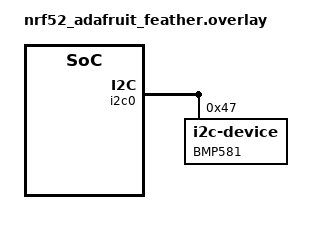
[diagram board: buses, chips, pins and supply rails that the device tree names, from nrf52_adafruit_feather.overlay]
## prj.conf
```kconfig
#
# Copyright (c) 2016 Intel Corporation
#
# SPDX-License-Identifier: Apache-2.0
#

# To have 1000 ticks per second -> 1ms timer resolution
CONFIG_SYS_CLOCK_TICKS_PER_SEC=1000

CONFIG_NRFX_TWIM1=y
CONFIG_USE_SEGGER_RTT=y
CONFIG_I2C=y
CONFIG_LOG=y

# Floating Point Unit
CONFIG_FPU=y

#Higher resolution timestamp
CONFIG_LOG_TIMESTAMP_64BIT=y

#Enable Timing functions
CONFIG_TIMING_FUNCTIONS=y        

# Bluetooth LE
CONFIG_BT=y
CONFIG_BT_PERIPHERAL=y
CONFIG_BT_DEVICE_NAME="BMP581_SENSOR"
CONFIG_BT_GATT_CLIENT=y
# important for applications that modify the GATT database at runtime
CONFIG_BT_GATT_DYNAMIC_DB=y

CONFIG_BT_SMP=y
CONFIG_BT_GATT_DM=y

# Enable CTS client
CONFIG_BT_CTS_CLIENT=y


# Configure your preferred connection parameters
# Set the minimum and maximum connection intervals in units of 1.25 ms
# 7.5ms - Absolute minimum CI value in BLE standard 
CONFIG_BT_PERIPHERAL_PREF_MIN_INT=6     
# 20ms - Can change after negociation with the client
CONFIG_BT_PERIPHERAL_PREF_MAX_INT=10   
# Set the connection supervision timeout in units of 10 ms Here: 400ms
CONFIG_BT_PERIPHERAL_PREF_TIMEOUT=40
CONFIG_BT_GAP_AUTO_UPDATE_CONN_PARAMS=y

# Update Data Length and MTU
CONFIG_BT_USER_DATA_LEN_UPDATE=y
CONFIG_BT_CTLR_DATA_LENGTH_MAX=251
CONFIG_BT_BUF_ACL_RX_SIZE=251
CONFIG_BT_BUF_ACL_TX_SIZE=251
CONFIG_BT_L2CAP_TX_MTU=247

# Enable PHY updates.
CONFIG_BT_USER_PHY_UPDATE=y

# Increase stack size for the main thread and System Workqueue
CONFIG_SYSTEM_WORKQUEUE_STACK_SIZE=2048
CONFIG_MAIN_STACK_SIZE=2048
CONFIG_BT_RX_STACK_SIZE=2048

# Fix for undefined ref to k_alloc
CONFIG_HEAP_MEM_POOL_SIZE=256 

# Config params for nvs
CONFIG_FLASH=y
CONFIG_NVS=y
CONFIG_REBOOT=y
CONFIG_MPU_ALLOW_FLASH_WRITE=y
```

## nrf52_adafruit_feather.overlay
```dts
// To get started, press Ctrl+Space to bring up the completion menu and view the available nodes.

// You can also use the buttons in the sidebar to perform actions on nodes.
// Actions currently available include:

// * Enabling / disabling the node
// * Adding the bus to a bus
// * Removing the node
// * Connecting ADC channels

// For more help, browse the DeviceTree documentation at https: //docs.zephyrproject.org/latest/guides/dts/index.html
// You can also visit the nRF DeviceTree extension documentation at https: //nrfconnect.github.io/vscode-nrf-connect/devicetree/nrfdevicetree.html


&i2c0 {
  status = "okay";
  bmp581: bmp581@47 {
    compatible = "i2c-device";
    reg = <0x47>;
    label = "BMP581";
  };
};
```

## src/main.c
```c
/*
 * Copyright (c) 2016 Intel Corporation
 *
 * SPDX-License-Identifier: Apache-2.0
 */

/*INCLUDES*/
#include "main.h"
#include "bmp5.h"
#include "bt-periph.h"

#define DEVICE_ID 3
#define SAMPLING_INTERVAL_MS 20
/* Declare the LED devices*/
#define LED_RED_NODE \
  DT_ALIAS(led0) // LED_RED_NODE = led0 defined in the .dts file


static const struct gpio_dt_spec led_red =
    GPIO_DT_SPEC_GET(LED_RED_NODE, gpios);

/* Sensor Data variables*/
struct bmp5_sensor_data sensor_data;
uint32_t pressure_data = 0;

/* BMP5 device variables*/
struct bmp5_dev dev;
struct bmp5_osr_odr_press_config osr_odr_press_cfg = {0};

int8_t bmp5_rslt;
int ret_led;

void new_packet();

/* Work queue callback for sample processing*/
static void sample_work_cb(struct k_work *work) {
  /*Get sensor data from the BMP581*/
  bmp5_rslt = get_sensor_data(&osr_odr_press_cfg, &dev);

  /* Make a new char array packet*/
  new_packet();

  /* Send the packet to the characteristic*/
  // printk("%s\n",frame_payload);
  sensor_notify(frame_payload);
}

K_WORK_DEFINE(sample_work, sample_work_cb);

/* Define timer_cb and timer*/
volatile uint64_t current_time_ms;

static void cts_timer_cb(struct k_timer *dummy) {
  current_time_ms++;
}
static void sample_timer_cb(struct k_timer *dummy) {
  k_work_submit(&sample_work);
}

K_TIMER_DEFINE(cts_timer, cts_timer_cb, NULL);
K_TIMER_DEFINE(sample_timer, sample_timer_cb, NULL);

#define _APP_TIMER_DEF (timer_id)

char frame_ts[10];
char frame_sensor[8];
static char frame_payload[SIZE_PAYLOAD];

void new_packet() {
  /* Frame : ID,XXXXXXXX,XXXXXX */
  sprintf(frame_payload, "%1d,%08lu,%06lu\n", DEVICE_ID,
          (unsigned long)current_time_ms, (unsigned long)sensor_data.pressure);

}

int main(void) {
  /* Initialize and check LED devices*/
  if (!gpio_is_ready_dt(&led_red)) {
    return 0;
  }

  ret_led = gpio_pin_configure_dt(&led_red, GPIO_OUTPUT_INACTIVE);
  if (ret_led < 0) {
    return 0;
  }

  bmp5_rslt = bmp5_interface_init(&dev, BMP5_I2C_INTF);
  if (bmp5_rslt == BMP5_OK) {
    bmp5_soft_reset(&dev);

    bmp5_rslt = bmp5_init(&dev);

    if (bmp5_rslt == BMP5_OK) {
      bmp5_rslt = set_config(&osr_odr_press_cfg, &dev);
    }
  }

  /* Initial sensor values*/
  get_sensor_data(&osr_odr_press_cfg, &dev);

  gpio_pin_set_dt(&led_red, 1);

  /* Start BLE stack and setup/run GATT Server*/
  bluetooth_advertiser_init();

  /*Start timers for Timestamping (1ms) and sample collection (SAMPLING_INTERVAL_MS) */
  k_timer_start(&cts_timer, K_MSEC(1), K_MSEC(1));
  k_timer_start(&sample_timer, K_MSEC(SAMPLING_INTERVAL_MS), K_MSEC(SAMPLING_INTERVAL_MS));

  while (1) {
    k_usleep(1);
      }

  return 0;
}

int8_t
get_sensor_data(const struct bmp5_osr_odr_press_config *osr_odr_press_cfg,
                struct bmp5_dev *dev) {
  int8_t rslt = 0;
  uint8_t int_status = 0x1;

  if (int_status & BMP5_INT_ASSERTED_DRDY) {
    /* pressure: sensor_data.pressure -- temperature: sensor_data.temperature */
    rslt = bmp5_get_sensor_data(&sensor_data, osr_odr_press_cfg, dev);
  }

  return rslt;
}
```

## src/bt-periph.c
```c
#include "bt-periph.h"
#include "main.h"

#include <time.h>

#define LED_BLUE_NODE                                                          \
  DT_ALIAS(led1) // LED_RED_NODE = led0 defined in the .dts file

/*Prototype for BLE connection callbacks*/
static void on_connected(struct bt_conn *conn, uint8_t err);
static void on_disconnected(struct bt_conn *conn, uint8_t reason);
void on_le_param_updated(struct bt_conn *conn, uint16_t interval,
                         uint16_t latency, uint16_t timeout);
void on_le_phy_updated(struct bt_conn *conn, struct bt_conn_le_phy_info *param);

/* CTS Callaback*/
static void read_current_time_cb(struct bt_cts_client *cts_c,
                                 struct bt_cts_current_time *current_time,
                                 int err);

/* Declare CTS variables*/
static struct bt_cts_client cts_c;
static bool has_cts;
struct timespec cts_timestamp;
extern volatile uint64_t current_time_ms;
static int cts_retries = 0;

/* LED config*/
static const struct gpio_dt_spec led_blue =
    GPIO_DT_SPEC_GET(LED_BLUE_NODE, gpios);

static bool notify_mysensor_enabled;

#define DEVICE_NAME "DEV003"
#define DEVICE_NAME_LEN 6

/* Variable that holds callback for MTU negotiation */
static struct bt_gatt_exchange_params exchange_params;

/* Forward declaration of exchange_func(): */
static void exchange_func(struct bt_conn *conn, uint8_t att_err,
                          struct bt_gatt_exchange_params *params);

/*BLE Connection struct*/
struct bt_conn *my_conn = NULL;

/* ## GATT Server ## */
/* Define the configuration change callback function for the MYSENSOR
 * characteristic */
static void mylbs_ccc_mysensor_cfg_changed(const struct bt_gatt_attr *attr,
                                           uint16_t value) {
  notify_mysensor_enabled = (value == BT_GATT_CCC_NOTIFY);
}

/* GATT characteristic and service Declaration */
/* Notification handler*/
static ssize_t read_char(struct bt_conn *conn, const struct bt_gatt_attr *attr,
                         void *buf, uint16_t len, uint16_t offset) {
  const char *value = attr->user_data;

  return bt_gatt_attr_read(conn, attr, buf, len, offset, value, strlen(value));
}

/* GATT Service Declaration */
BT_GATT_SERVICE_DEFINE(
    my_lbs_svc, BT_GATT_PRIMARY_SERVICE(BT_UUID_MY_SERVICE),
    /* Create and add the MYSENSOR characteristic and its CCCD  */
    /* Characteristic Declaration */
    BT_GATT_CHARACTERISTIC(BT_UUID_MY_SERVICE_SENSOR, BT_GATT_CHRC_NOTIFY,
                           BT_GATT_PERM_READ, read_char, NULL, frame_payload),
    BT_GATT_CCC(mylbs_ccc_mysensor_cfg_changed,
                BT_GATT_PERM_READ | BT_GATT_PERM_WRITE), );

/* Create an LE Advertising Parameters variable */
static struct bt_le_adv_param *adv_param =
    BT_LE_ADV_PARAM((BT_LE_ADV_OPT_CONNECTABLE |
                     BT_LE_ADV_OPT_USE_IDENTITY), /* Connectable advertising and
                                                     use identity address */
                    BT_GAP_ADV_FAST_INT_MIN_1, /* 0x30 units, 48 units, 30ms */
                    BT_GAP_ADV_FAST_INT_MAX_1, /* 0x60 units, 96 units, 60ms */
                    NULL); /* Set to NULL for undirected advertising */

/* Declare the advertising packet */
static volatile uint8_t mfg_data[] = {0x00, 0x00, 0xaa, 0xbb};

static const struct bt_data ad[] = {
    BT_DATA_BYTES(BT_DATA_FLAGS, BT_LE_AD_NO_BREDR),
    BT_DATA_BYTES(BT_DATA_UUID16_ALL, 0xaa, 0xfe),
    BT_DATA_BYTES(BT_DATA_SVC_DATA16, 0xaa, 0xfe, /* Eddystone UUID*/
                  'D', 'E', 'V', '0', '0', '1')   /* DEVxxx */
};

/* Declare the scan response packet - Set Scan Response data */
static const struct bt_data sd[] = {
    BT_DATA(BT_DATA_NAME_COMPLETE, DEVICE_NAME, DEVICE_NAME_LEN),
};

/* Function to update the connection's PHY */
static void update_phy(struct bt_conn *conn) {
  int err;
  const struct bt_conn_le_phy_param preferred_phy = {
      .options = BT_CONN_LE_PHY_OPT_NONE,
      .pref_rx_phy = BT_GAP_LE_PHY_2M,
      .pref_tx_phy = BT_GAP_LE_PHY_2M,
  };
  err = bt_conn_le_phy_update(conn, &preferred_phy);
  if (err) {
    printk("bt_conn_le_phy_update() returned %d\r\n", err);
  }
}

/* Function to update the connection's data length */
static void update_data_length(struct bt_conn *conn) {
  int err;
  struct bt_conn_le_data_len_param my_data_len = {
      .tx_max_len = BT_GAP_DATA_LEN_MAX,
      .tx_max_time = BT_GAP_DATA_TIME_MAX,
  };
  err = bt_conn_le_data_len_update(my_conn, &my_data_len);
  if (err) {
    printk("data_len_update failed (err %d)\r\n", err);
  }
}

/* Function to update the connection's MTU */
static void update_mtu(struct bt_conn *conn) {
  int err;
  exchange_params.func = exchange_func;

  err = bt_gatt_exchange_mtu(conn, &exchange_params);
  if (err) {
    printk("bt_gatt_exchange_mtu failed (err %d)\r\n", err);
  }
}

/* Subscribe to CTS notification*/
static void enable_notifications(void) {
  int err = 0;
  // printk("enable_notifications\n");
  k_usleep(1);

  err = bt_cts_read_current_time(&cts_c, read_current_time_cb);
  if (err) {
    printk("Failed reading current time (err: %d)\n", err);
  }
}

/* Discovery CBs*/
static void discover_completed_cb(struct bt_gatt_dm *dm, void *ctx) {
  int err;

  printk("The discovery procedure succeeded\n");

  cts_retries = 0;

  err = bt_cts_handles_assign(dm, &cts_c);
  if (err) {
    printk("Could not assign CTS client handles, error: %d\n", err);
  } else {
    k_usleep(1);
    has_cts = true;
    enable_notifications();
  }
}

static void discover_service_not_found_cb(struct bt_conn *conn, void *ctx) {
  printk("The service could not be found during the discovery\n \
          Think to activate the GATT CTS Server on the nRF Connect App\n");
}

static void discover_error_found_cb(struct bt_conn *conn, int err, void *ctx) {
  printk("The discovery procedure failed, err %d\n", err);
  cts_retries++;
  if (cts_retries < 5) {
    k_usleep(1);
    discover_gatt_cts();
  } else {
    printk("The discovery procedure failed 5 times. Exiting\n");
  }
}

/* Discovery CBs struct*/
static const struct bt_gatt_dm_cb discover_cb = {
    .completed = discover_completed_cb,
    .service_not_found = discover_service_not_found_cb,
    .error_found = discover_error_found_cb,
};

/* Print current Time and store it*/
void current_time_store(struct bt_cts_current_time *current_time) {
  current_time_ms =
      current_time->exact_time_256.hours * 36 * 100000 + // Hours to ms
      current_time->exact_time_256.minutes * 6 * 10000 + // Minutes to ms
      current_time->exact_time_256.seconds * 1000 +      // Seconds to ms
      (((current_time->exact_time_256.fractions256) * 1000) /
       256); // Fraction_256 to ms

  printk("Current time in ms: %llu stored.\n", current_time_ms);
}

/* Read and print Current Time*/
static void read_current_time_cb(struct bt_cts_client *cts_c,
                                 struct bt_cts_current_time *current_time,
                                 int err) {
  char addr[BT_ADDR_LE_STR_LEN];

  bt_addr_le_to_str(bt_conn_get_dst(cts_c->conn), addr, sizeof(addr));

  if (err) {
    printk("Cannot read Current Time: %s, error: %d\n", addr, err);
    return;
  }

  current_time_store(current_time);
}

/* Implement the on connected callback function*/
void on_connected(struct bt_conn *conn, uint8_t err) {
  if (err) {
    printk("Connection error %d\n\r", err);
    return;
  }
  printk("Connected\n\r");

  /* Increase the connection counter*/
  my_conn = bt_conn_ref(conn);

  /* A structure to store the connection parameters */
  struct bt_conn_info info;
  err = bt_conn_get_info(conn, &info);
  if (err) {
    printk("bt_conn_get_info() returned %d\n\r", err);
    return;
  }

  /* Add the connection parameters to your log */
  double connection_interval = info.le.interval * 1.25; // in ms
  uint16_t supervision_timeout = info.le.timeout * 10;  // in ms
  printk("Connection parameters: interval %.2f ms, latency %d intervals, "
         "timeout %d ms\n\r",
         connection_interval, info.le.latency, supervision_timeout);

  /* Update the PHY mode */
  update_phy(my_conn);

  /* Update the data length and MTU */
  update_data_length(my_conn);
  update_mtu(my_conn);

  k_usleep(1);

  /* Get current time (5 retries)*/
  discover_gatt_cts();

  /* Turn the connection status LED on */
  gpio_pin_set_dt(&led_blue, 1);
}

void on_disconnected(struct bt_conn *conn, uint8_t reason) {
  printk("Disconnected. Reason %d\n\r", reason);
  bt_conn_unref(my_conn);

  /* Turn the connection status LED off */
  gpio_pin_set_dt(&led_blue, 0);
}

/* Callback for connection parameter log */
void on_le_param_updated(struct bt_conn *conn, uint16_t interval,
                         uint16_t latency, uint16_t timeout) {
  double connection_interval = interval * 1.25; // in ms
  uint16_t supervision_timeout = timeout * 10;  // in ms

  printk("Connection parameters updated: interval %.2f ms, latency %d "
         "intervals, timeout %d ms\n\r",
         connection_interval, latency, supervision_timeout);
}

/* Callback function to log updates in the PHY */
void on_le_phy_updated(struct bt_conn *conn,
                       struct bt_conn_le_phy_info *param) {
  // PHY Updated
  if (param->tx_phy == BT_CONN_LE_TX_POWER_PHY_1M) {
    printk("PHY updated. New PHY: 1M\n\r");
  } else if (param->tx_phy == BT_CONN_LE_TX_POWER_PHY_2M) {
    printk("PHY updated. New PHY: 2M\n\r");
  } else if (param->tx_phy == BT_CONN_LE_TX_POWER_PHY_CODED_S8) {
    printk("PHY updated. New PHY: Long Range\n\r");
  }
}

/* Callback function to log updates in data length */
void on_le_data_len_updated(struct bt_conn *conn,
                            struct bt_conn_le_data_len_info *info) {
  uint16_t tx_len = info->tx_max_len;
  uint16_t tx_time = info->tx_max_time;
  uint16_t rx_len = info->rx_max_len;
  uint16_t rx_time = info->rx_max_time;
  printk("Data length updated. Length %d/%d bytes, time %d/%d us\r\n", tx_len,
         rx_len, tx_time, rx_time);
}

/* Implement callback function for MTU exchange */
static void exchange_func(struct bt_conn *conn, uint8_t att_err,
                          struct bt_gatt_exchange_params *params) {
  printk("MTU exchange %s\r\n", att_err == 0 ? "successful" : "failed");
  if (!att_err) {
    uint16_t payload_mtu =
        bt_gatt_get_mtu(conn) - 3; // 3 bytes used for Attribute headers.
    printk("New MTU: %d bytes\r\n", payload_mtu);
  }
}

/* Declare the connection_callback structure */
struct bt_conn_cb connection_callbacks = {
    .connected = on_connected,
    .disconnected = on_disconnected,
    .le_param_updated = on_le_param_updated,
    .le_phy_updated = on_le_phy_updated,
    .le_data_len_updated = on_le_data_len_updated,
};

void bluetooth_advertiser_init() {
  /* Configure LED */
  int ret_led;
  if (!gpio_is_ready_dt(&led_blue)) {
    return;
  }
  ret_led = gpio_pin_configure_dt(&led_blue, GPIO_OUTPUT_ACTIVE);
  if (ret_led < 0) {
    return;
  }
  gpio_pin_set_dt(&led_blue, 0);

  /* Enable the Bluetooth LE stack */
  int bt_err;
  bt_conn_cb_register(&connection_callbacks);

  bt_err = bt_enable(NULL);
  if (bt_err) {
    printk("Bluetooth init failed (err %d)\n", bt_err);
    return;
  }
  printk("Bluetooth initialized\n");

  /* Start advertising */
  bt_err = bt_le_adv_start(adv_param, ad, ARRAY_SIZE(ad), sd, ARRAY_SIZE(sd));
  if (bt_err) {
    printk("Advertising failed to start (err %d)\n", bt_err);
    return;
  }
}

void sensor_notify(char *buf) {
  bt_gatt_notify(NULL, &my_lbs_svc.attrs[2], buf,
                 sizeof(uint8_t) * SIZE_PAYLOAD);
}

int discover_gatt_cts() {
  // printk("update_time_cts()");
  int err = 0;
  k_usleep(1);

  /* Start discovery of CTS service*/
  bt_gatt_dm_start(my_conn, BT_UUID_CTS, &discover_cb, NULL);
  if (err) {
    printk("Failed to start discovery (err %d)\n", err);
  }
  return err;
}
```

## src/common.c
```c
/**
 * Copyright (C) 2022 Bosch Sensortec GmbH. All rights reserved.
 *
 * SPDX-License-Identifier: BSD-3-Clause
 */

#include <stdint.h>
#include <stdlib.h>
#include <stdio.h>

#include <zephyr/devicetree.h>
#include <zephyr/device.h>
#include <zephyr/drivers/i2c.h>
#include <zephyr/logging/log.h>

#include "bmp5_defs.h"
#include "bmp5.h"

/******************************************************************************/
/*!                         Macro definitions                                 */
#define BMP581 DT_NODELABEL(bmp581)

/******************************************************************************/
/*!                Static variable definition                                 */

/*! Variable that holds the I2C device address or SPI chip selection */
static const struct i2c_dt_spec i2c_dev = I2C_DT_SPEC_GET(BMP581);
static uint8_t dev_addr;

/******************************************************************************/
/*!                User interface functions                                   */

/*!
 * I2C read function map to COINES platform
 */
BMP5_INTF_RET_TYPE bmp5_i2c_read(uint8_t reg_addr, uint8_t *reg_data, uint32_t length, void *intf_ptr)
{
    int rc = 0;
        rc = i2c_burst_read_dt(&i2c_dev, reg_addr, reg_data, length);
        if (rc != 0)
        {
            printk("i2c_burst_read_dt error\r\n"); // attempt to recover bus if tx failed for any reason
        }
        return rc;
}

/*!
 * I2C write function map to COINES platform
 */
BMP5_INTF_RET_TYPE bmp5_i2c_write(uint8_t reg_addr, const uint8_t *reg_data, uint32_t length, void *intf_ptr)
{
    int rc = 0;
    
rc = i2c_burst_write_dt(&i2c_dev, reg_addr, reg_data, length);
        if (rc != 0)
        {
            printk("i2c_burst_write_dt error\r\n"); // attempt to recover bus if tx failed for any reason
        }
        return rc;
}


/*!
 * Delay function map to COINES platform
 */
void bmp5_delay_us(uint32_t period, void *intf_ptr)
{
    k_msleep((uint32_t)period / 1000);
}

/*!
 *  @brief Function to select the interface between SPI and I2C.
 */
int8_t bmp5_interface_init(struct bmp5_dev *bmp5_dev, uint8_t intf)
{
    int8_t rslt = BMP5_OK;
    //    int16_t result;

    if (bmp5_dev != NULL)
    {
        /* Bus configuration : I2C */
        if (intf == BMP5_I2C_INTF)
        {
            printk("I2C Interface\n");

            dev_addr = BMP5_I2C_ADDR_PRIM;
            bmp5_dev->read = bmp5_i2c_read;
            bmp5_dev->write = bmp5_i2c_write;
            bmp5_dev->intf = BMP5_I2C_INTF;
        }

        if (!device_is_ready(i2c_dev.bus))
        {
            printk("Board I2C: Device is not ready.\n");
            return -1;
        }

        k_msleep(100);
        /* Holds the I2C device addr or SPI chip selection */
        bmp5_dev->intf_ptr = &dev_addr;

        /* Configure delay in microseconds */
        bmp5_dev->delay_us = bmp5_delay_us;
    }
    else
    {
        rslt = BMP5_E_NULL_PTR;
    }
    return rslt;
}

int8_t set_config(struct bmp5_osr_odr_press_config *osr_odr_press_cfg, struct bmp5_dev *dev)
{
    int8_t rslt;
    struct bmp5_iir_config set_iir_cfg;
    struct bmp5_int_source_select int_source_select;

    rslt = bmp5_set_power_mode(BMP5_POWERMODE_STANDBY, dev);
    bmp5_error_codes_print_result("bmp5_set_power_mode1", rslt);

    if (rslt == BMP5_OK)
    {
        /* Get default odr */
        rslt = bmp5_get_osr_odr_press_config(osr_odr_press_cfg, dev);
        bmp5_error_codes_print_result("bmp5_get_osr_odr_press_config", rslt);

        if (rslt == BMP5_OK)
        {
            /* Enable pressure */
            osr_odr_press_cfg->press_en = BMP5_ENABLE;

            rslt = bmp5_set_osr_odr_press_config(osr_odr_press_cfg, dev);
            bmp5_error_codes_print_result("bmp5_set_osr_odr_press_config", rslt);
        }

        if (rslt == BMP5_OK)
        {
            set_iir_cfg.set_iir_t = BMP5_IIR_FILTER_COEFF_1;
            set_iir_cfg.set_iir_p = BMP5_IIR_FILTER_COEFF_1;
            set_iir_cfg.shdw_set_iir_t = BMP5_ENABLE;
            set_iir_cfg.shdw_set_iir_p = BMP5_ENABLE;

            rslt = bmp5_set_iir_config(&set_iir_cfg, dev);
            bmp5_error_codes_print_result("bmp5_set_iir_config", rslt);
        }

        if (rslt == BMP5_OK)
        {
            rslt = bmp5_configure_interrupt(BMP5_PULSED, BMP5_ACTIVE_HIGH, BMP5_INTR_PUSH_PULL, BMP5_INTR_ENABLE, dev);

            bmp5_error_codes_print_result("bmp5_configure_interrupt", rslt);

            if (rslt == BMP5_OK)
            {
                /* Note : Select INT_SOURCE after configuring interrupt */
                int_source_select.drdy_en = BMP5_ENABLE;
                rslt = bmp5_int_source_select(&int_source_select, dev);
                bmp5_error_codes_print_result("bmp5_int_source_select", rslt);
            }
        }

        /* Set powermode as continous */
        rslt = bmp5_set_power_mode(BMP5_POWERMODE_CONTINOUS, dev);
        bmp5_error_codes_print_result("bmp5_set_power_mode", rslt);
    }

    return rslt;
}
```
